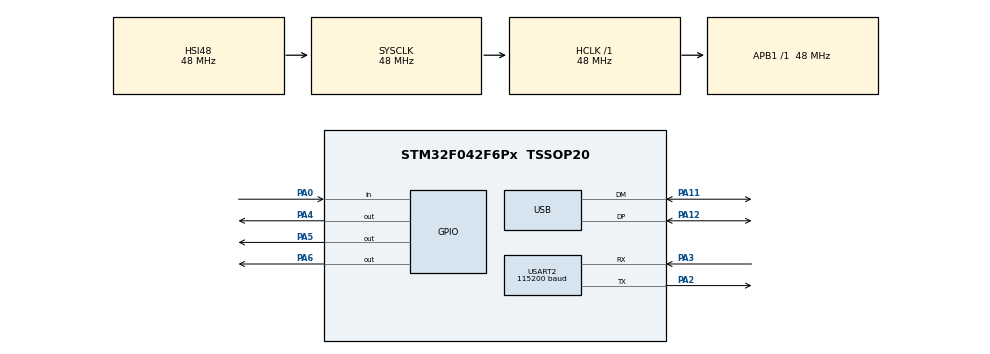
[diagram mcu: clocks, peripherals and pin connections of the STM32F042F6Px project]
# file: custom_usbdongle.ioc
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Dma.Request0=USART2_RX
Dma.USART2_RX.0.Direction=DMA_PERIPH_TO_MEMORY
Dma.USART2_RX.0.Instance=DMA1_Channel5
Dma.USART2_RX.0.MemDataAlignment=DMA_MDATAALIGN_BYTE
Dma.USART2_RX.0.MemInc=DMA_MINC_ENABLE
Dma.USART2_RX.0.Mode=DMA_CIRCULAR
Dma.USART2_RX.0.PeriphDataAlignment=DMA_PDATAALIGN_BYTE
Dma.USART2_RX.0.PeriphInc=DMA_PINC_DISABLE
Dma.USART2_RX.0.Priority=DMA_PRIORITY_LOW
Mcu.Family=STM32F0
Mcu.Name=STM32F042F6Px
Mcu.Package=TSSOP20
NVIC.DMA1_Channel4_5_IRQn=true\:0\:0\:false\:false\:true\:false\:true
NVIC.TIM14_IRQn=true\:0\:0\:false\:false\:true\:true\:true
NVIC.TIM16_IRQn=true\:0\:0\:false\:false\:true\:true\:true
NVIC.USB_IRQn=true\:0\:0\:false\:false\:true\:false\:true
PA0.Signal=GPIO_Input
PA11.Mode=Device
PA11.Signal=USB_DM
PA12.Mode=Device
PA12.Signal=USB_DP
PA2.Mode=Asynchronous
PA2.Signal=USART2_TX
PA3.Mode=Asynchronous
PA3.Signal=USART2_RX
PA4.Signal=GPIO_Output
PA5.Signal=GPIO_Output
PA6.Signal=GPIO_Output
PF0-OSC_IN.Mode=HSE-External-Oscillator
PF0-OSC_IN.Signal=RCC_OSC_IN
PF1-OSC_OUT.Mode=HSE-External-Oscillator
PF1-OSC_OUT.Signal=RCC_OSC_OUT
ProjectManager.HeapSize=0x400
ProjectManager.StackSize=0x800
ProjectManager.TargetToolchain=MDK-ARM V5
RCC.AHBFreq_Value=48000000
RCC.APB1Freq_Value=48000000
RCC.APB1TimFreq_Value=48000000
RCC.HCLKFreq_Value=48000000
RCC.SYSCLKFreq_VALUE=48000000
RCC.SYSCLKSource=RCC_SYSCLKSOURCE_HSI48
TIM14.AutoReloadPreload=TIM_AUTORELOAD_PRELOAD_ENABLE
TIM14.Period=9999
TIM14.Prescaler=47
TIM16.AutoReloadPreload=TIM_AUTORELOAD_PRELOAD_ENABLE
TIM16.Period=799
TIM16.Prescaler=4799
USART2.BaudRate=115200
USART2.VirtualMode-Asynchronous=VM_ASYNC
USB_DEVICE.CLASS_NAME_FS=CUSTOM_HID
USB_DEVICE.MANUFACTURER_STRING=WeiShiXunDa
USB_DEVICE.PRODUCT_STRING_CUSTOMHID_FS=VR_Receiver
USB_DEVICE.USBD_CUSTOMHID_OUTREPORT_BUF_SIZE=64
USB_DEVICE.USBD_CUSTOM_HID_REPORT_DESC_SIZE=34
USB_DEVICE.VirtualMode=CustomHid
USB_DEVICE.VirtualModeFS=Custom_Hid_FS
VP_IWDG_VS_IWDG.Mode=IWDG_Activate
VP_SYS_VS_PINREMAP.Mode=PINREMAP
VP_TIM14_VS_ClockSourceINT.Mode=Enable_Timer
VP_TIM16_VS_ClockSourceINT.Mode=Enable_Timer
VP_USB_DEVICE_VS_USB_DEVICE_CUSTOM_HID_FS.Mode=CUSTOM_HID_FS
board=custom

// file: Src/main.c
/* USER CODE BEGIN Header */
/**
  ******************************************************************************
  * @file           : main.c
  * @brief          : Main program body
  ******************************************************************************
  * @attention
  *
  * <h2><center>&copy; Copyright (c) 2019 STMicroelectronics.
  * All rights reserved.</center></h2>
  *
  * This software component is licensed by ST under BSD 3-Clause license,
  * the "License"; You may not use this file except in compliance with the
  * License. You may obtain a copy of the License at:
  *                        opensource.org/licenses/BSD-3-Clause
  *
  ******************************************************************************
  */
/* USER CODE END Header */

#include "main.h"
#include "usb_device.h"

/* USER CODE BEGIN Includes */
#include "usbd_customhid.h"
/* USER CODE END Includes */

/* USER CODE BEGIN PD */
#define Water_Address 0x00
#define Recoilless_Address 0x01
#define HumanSensor_Address 0x02
#define PneumaticExtinguisher_Address 0x03
#define Local_Address 0xfd
#define Multi_Address 0xfc

#define Command_Shutdown 0x0f
#define Command_GetData 0x00
#define Command_SetData 0x01
/* USER CODE END PD */

IWDG_HandleTypeDef hiwdg;

TIM_HandleTypeDef htim14;
TIM_HandleTypeDef htim16;

UART_HandleTypeDef huart2;
DMA_HandleTypeDef hdma_usart2_rx;

/* USER CODE BEGIN PV */
extern USBD_HandleTypeDef hUsbDeviceFS;
// USB repoter
//bat  button1 button2 encode hall
unsigned char Recoilless_Send[64] = {0};

unsigned char USB_Send[64] = {0};
unsigned char USB_Recv[64] = {0};
unsigned char UART_Send[256] = {0};
unsigned char UART_Recv[256] = {0};
unsigned char UART_Recv_u8;
int UART_Recvloc = 0;
unsigned char USB_Event = 0;

unsigned char Water_Flag = 0;
unsigned char Recoilless_Flag = 0;
unsigned char HumanSensor_Flag = 0;
unsigned char PneumaticExtinguisher_Flag = 0;
/* USER CODE END PV */

void SystemClock_Config(void);
static void MX_GPIO_Init(void);
static void MX_DMA_Init(void);
static void MX_USART2_UART_Init(void);
static void MX_TIM14_Init(void);
static void MX_TIM16_Init(void);
static void MX_IWDG_Init(void);

/* USER CODE BEGIN 0 */
uint32_t USB_GetData(uint8_t *data,uint32_t dataNum)
{
    uint32_t len=0;
    USBD_CUSTOM_HID_HandleTypeDef   *hhid;
  hhid = (USBD_CUSTOM_HID_HandleTypeDef*)hUsbDeviceFS.pClassData;//???????

    for(len=0;len<dataNum;len++){
        *data=hhid->Report_buf[len];
        data++;
    }
    return dataNum;
}

void RFNormalMode()
{
	HAL_GPIO_WritePin(GPIOA,GPIO_PIN_6,0);
	HAL_GPIO_WritePin(GPIOA,GPIO_PIN_5,0);
	HAL_GPIO_WritePin(GPIOA,GPIO_PIN_4,1);
}

void RFConfigMode()
{
	HAL_GPIO_WritePin(GPIOA,GPIO_PIN_6,1);
	HAL_GPIO_WritePin(GPIOA,GPIO_PIN_5,1);
	HAL_GPIO_WritePin(GPIOA,GPIO_PIN_4,1);
}

void RF_init()
{
	unsigned char data1[64] = {0xc0 ,0x00 ,0x03 ,0x2f ,0x1a ,0x04};
	//unsigned char data2[64] = {0xc1 ,0xc1 ,0xc1 ,0x2c ,0x18 ,0x84};
	while(HAL_GPIO_ReadPin(GPIOA,GPIO_PIN_0) != 1);
	RFConfigMode();
	while(HAL_GPIO_ReadPin(GPIOA,GPIO_PIN_0) != 1);
	UART_Recvloc = 0;
	HAL_Delay(50);
	HAL_UART_Transmit(&huart2,data1,6,1000);
	while(1);
}

void RF_Send(unsigned char *data,unsigned int len)
{
	while(HAL_GPIO_ReadPin(GPIOA,GPIO_PIN_0) != 1);
	HAL_UART_Transmit(&huart2,data,len,1000);
}
void SendContrlData(unsigned char dstaddr,unsigned char command,unsigned char *data)
{
	//head:0xff
	//dst_addr : [4]
	//src_addt : [5]
	//data.....
	//end: 0xfe
	unsigned char send[13] = {0xff,0,0,command,data[0],data[1],data[2],data[3],data[4],data[5],data[6],data[7],0xfe};

	send[1] = dstaddr;

	send[2] = Local_Address;
	RF_Send(send,13);
}

void RecvTick()
{
	static unsigned char flag = 0;
	static int location;
	unsigned char Recv_data[64];
	int Recv_data_len = 0;
	unsigned char i = 0;
	static unsigned char count = 0;
	while(1)
	{
		if(UART_Recv[count] == 0xff)
		{
			if(flag == 1)
			{
				UART_Recv[location] = 0;
			}

			location = count;
			flag = 1;
		}
		if(UART_Recv[count] == 0xfe)
		{
			UART_Recv[count] = 0;
			if(flag != 1)
			{
				continue;
			}
			UART_Recv[location] = 0;
			flag = 0;
			if(count < location)
				Recv_data_len = (count + 256) - location;
			else
				Recv_data_len = count - location;
			if(Recv_data_len >= 64)
				continue;
			for(int j = 0;j<Recv_data_len;j++)
				Recv_data[j] = UART_Recv[(unsigned char)(location + 1 + j)];
			break;
		}
		if(i==255)
			break;
		i++;
		count++;
	}
	if(Recv_data_len == 0)
		return;
	////////////////////////////////////////////////////////////////////////////////////////////////////////////////////

	if(Recv_data[0] != Local_Address)
		return;

	////////////////////////////////////////////////////////////////////////////////////////////////////////////////////
//	unsigned char check  = 0;

//	if(Recv_data[1] == Water_Address)
//		check = 1;
//	if(Recv_data[1] == Recoilless_Address)
//		check = 2;

	switch(Recv_data[1])
	{
		case Water_Address:
			Water_Flag = 1;
			USB_Send[0] = Recv_data[2];
			USB_Send[1] = Recv_data[3];
			USB_Send[2] = Recv_data[4];
			USB_Send[3] = Recv_data[5];
			USB_Send[4] = Recv_data[6];
			break;
		case Recoilless_Address:
			Recoilless_Flag = 1;
			USB_Send[5] = Recv_data[2];
			USB_Send[6] = Recv_data[3];
			break;
		case HumanSensor_Address:
			HumanSensor_Flag = 1;
			USB_Send[7] = Recv_data[2];
			USB_Send[8] = Recv_data[3];
			break;
		case PneumaticExtinguisher_Address:
			PneumaticExtinguisher_Flag = 1;
			USB_Send[0] = Recv_data[2];
			USB_Send[1] = Recv_data[3];
			USB_Send[2] = Recv_data[4];
			break;
	}
}

unsigned char Send_Tick_WaterCount80ms = 0;
unsigned char Send_Tick_RecoillessCount80ms = 0;
unsigned char Send_Tick_HumanSensorCount80ms = 0;
unsigned char Send_Tick_PneumaticExtinguisherCount80ms = 0;
unsigned char Send_Tick_RadioCount80ms = 0;
void SendTick()
{
	///////////////////////////////////////////////////////////////////////////
	if(PneumaticExtinguisher_Flag == 0)
	{
		if(Send_Tick_PneumaticExtinguisherCount80ms >= 12)
		{
			USB_Send[60] = 0;
		}
		else
		{
			Send_Tick_PneumaticExtinguisherCount80ms++;
		}
	}
	else
	{
		Send_Tick_PneumaticExtinguisherCount80ms = 0;
		USB_Send[60] = 1;
	}
	if(Water_Flag == 0)
	{

		if(Send_Tick_WaterCount80ms >= 12)
		{
			USB_Send[61] = 0;
		}
		else
		{
			Send_Tick_WaterCount80ms++;
		}
	}
	else
	{
		Send_Tick_WaterCount80ms = 0;
		USB_Send[61] = 1;
	}
	if(Recoilless_Flag == 0)
	{

		if(Send_Tick_RecoillessCount80ms >= 12)
		{
			USB_Send[62] = 0;
		}
		else
		{
			Send_Tick_RecoillessCount80ms++;
		}
	}
	else
	{
		Send_Tick_RecoillessCount80ms = 0;
		USB_Send[62] = 1;
	}

//	if(HumanSensor_Flag == 0)
//	{
//
//		if(Send_Tick_HumanSensorCount80ms >= 12)
//		{
//			USB_Send[63] = 0;
//		}
//		else
//		{
//			Send_Tick_HumanSensorCount80ms++;
//		}
//	}
//	else
//	{
//		Send_Tick_HumanSensorCount80ms = 0;
//		USB_Send[63] = 1;
//	}

	if(USB_Send[60] == 0)
	{

		if(USB_Send[61] == 0 || USB_Send[62] == 0)// || USB_Send[63] == 0)
		{
			Send_Tick_RadioCount80ms++;
			if(Send_Tick_RadioCount80ms >= 12)
			{
				SendContrlData(PneumaticExtinguisher_Address,Command_GetData,"80 20   ");
				SendContrlData(Water_Address,Command_GetData,"80 20   ");
				SendContrlData(Recoilless_Address,Command_GetData,"80 40   ");
				//SendContrlData(HumanSensor_Address,Command_GetData,"80 60   ");
			}
		}
		else
		{
			Send_Tick_RadioCount80ms = 0;
		}
		if(USB_Send[61] != 0 && USB_Send[62] != 0)
		{
			SendContrlData(Recoilless_Address,Command_SetData,Recoilless_Send);
		}
	}

	Water_Flag = 0;
	Recoilless_Flag = 0;
	HumanSensor_Flag = 0;
	///////////////////////////////////////////////////////////////////////////

}

/* USER CODE END 0 */

int main(void)
{

  /* MCU Configuration--------------------------------------------------------*/

  /* Reset of all peripherals, Initializes the Flash interface and the Systick. */
  HAL_Init();

  /* Configure the system clock */
  SystemClock_Config();

  /* Initialize all configured peripherals */
  MX_GPIO_Init();
	RFNormalMode();
	//RFConfigMode();
	HAL_Delay(200);
  MX_DMA_Init();
  MX_USART2_UART_Init();
  MX_USB_DEVICE_Init();
  MX_TIM14_Init();
  MX_TIM16_Init();
  MX_IWDG_Init();
  /* USER CODE BEGIN 2 */
	HAL_UART_Receive_DMA(&huart2, UART_Recv, 256);

	//HAL_Delay(200);
	HAL_TIM_Base_Start_IT(&htim14);
	HAL_TIM_Base_Start_IT(&htim16);

	//RF_init();
	//RFNormalMode();
  /* USER CODE END 2 */

  /* Infinite loop */
  /* USER CODE BEGIN WHILE */
	//USART2->CR1 = 0x0000010d;
	//	DMA1_Channel5->CCR = 0xaf;
  while (1)
  {
		if(USB_Event == 1)
		{
			unsigned char len = USB_GetData(USB_Recv,64);
			switch(USB_Recv[0])
			{
				case Recoilless_Address:
					Recoilless_Send[0] = USB_Recv[1];
					break;
				case HumanSensor_Address:
					SendContrlData(HumanSensor_Address,Command_Shutdown,"        ");
					break;
				case Water_Address:
					SendContrlData(Water_Address,Command_Shutdown,"        ");
					break;
			}

			//HAL_UART_Transmit(&huart2,USB_Recv,len,1000);
			//memcpy(USB_Send,USB_Recv,64);
			USB_Event = 0;
		}
		HAL_IWDG_Refresh(&hiwdg);
//		*(unsigned int*)&USB_Send[16] = USART1->CR1;
//		*(unsigned int*)&USB_Send[20] = USART1->CR3;
//		*(unsigned int*)&USB_Send[24] = USART1->BRR;
//		*(unsigned int*)&USB_Send[28] = USART1->ISR;
//
//
//		*(unsigned int*)&USB_Send[0] = DMA1_Channel5->CCR;
//		*(unsigned int*)&USB_Send[4] = DMA1_Channel5->CNDTR;
//		*(unsigned int*)&USB_Send[8] = DMA1_Channel5->CPAR;
//		*(unsigned int*)&USB_Send[12] = DMA1_Channel5->CMAR;

		RecvTick();
		//RF_Send(0x0001,0x18,"test1",5);
		//HAL_Delay(50);
    /* USER CODE END WHILE */

  }
}

void SystemClock_Config(void)
{
  RCC_OscInitTypeDef RCC_OscInitStruct = {0};
  RCC_ClkInitTypeDef RCC_ClkInitStruct = {0};
  RCC_PeriphCLKInitTypeDef PeriphClkInit = {0};

  /** Initializes the CPU, AHB and APB busses clocks
  */
  RCC_OscInitStruct.OscillatorType = RCC_OSCILLATORTYPE_HSI48|RCC_OSCILLATORTYPE_LSI;
  RCC_OscInitStruct.HSI48State = RCC_HSI48_ON;
  RCC_OscInitStruct.LSIState = RCC_LSI_ON;
  RCC_OscInitStruct.PLL.PLLState = RCC_PLL_NONE;
  if (HAL_RCC_OscConfig(&RCC_OscInitStruct) != HAL_OK)
  {
    Error_Handler();
  }
  /** Initializes the CPU, AHB and APB busses clocks
  */
  RCC_ClkInitStruct.ClockType = RCC_CLOCKTYPE_HCLK|RCC_CLOCKTYPE_SYSCLK
                              |RCC_CLOCKTYPE_PCLK1;
  RCC_ClkInitStruct.SYSCLKSource = RCC_SYSCLKSOURCE_HSI48;
  RCC_ClkInitStruct.AHBCLKDivider = RCC_SYSCLK_DIV1;
  RCC_ClkInitStruct.APB1CLKDivider = RCC_HCLK_DIV1;

  if (HAL_RCC_ClockConfig(&RCC_ClkInitStruct, FLASH_LATENCY_1) != HAL_OK)
  {
    Error_Handler();
  }
  PeriphClkInit.PeriphClockSelection = RCC_PERIPHCLK_USB;
  PeriphClkInit.UsbClockSelection = RCC_USBCLKSOURCE_HSI48;

  if (HAL_RCCEx_PeriphCLKConfig(&PeriphClkInit) != HAL_OK)
  {
    Error_Handler();
  }
}

static void MX_IWDG_Init(void)
{

  hiwdg.Instance = IWDG;
  hiwdg.Init.Prescaler = IWDG_PRESCALER_4;
  hiwdg.Init.Window = 4095;
  hiwdg.Init.Reload = 4095;
  if (HAL_IWDG_Init(&hiwdg) != HAL_OK)
  {
    Error_Handler();
  }

}

static void MX_TIM14_Init(void)
{

  htim14.Instance = TIM14;
  htim14.Init.Prescaler = 47;
  htim14.Init.CounterMode = TIM_COUNTERMODE_UP;
  htim14.Init.Period = 9999;
  htim14.Init.ClockDivision = TIM_CLOCKDIVISION_DIV1;
  htim14.Init.AutoReloadPreload = TIM_AUTORELOAD_PRELOAD_ENABLE;
  if (HAL_TIM_Base_Init(&htim14) != HAL_OK)
  {
    Error_Handler();
  }

}

static void MX_TIM16_Init(void)
{

  htim16.Instance = TIM16;
  htim16.Init.Prescaler = 4799;
  htim16.Init.CounterMode = TIM_COUNTERMODE_UP;
  htim16.Init.Period = 799;
  htim16.Init.ClockDivision = TIM_CLOCKDIVISION_DIV1;
  htim16.Init.RepetitionCounter = 0;
  htim16.Init.AutoReloadPreload = TIM_AUTORELOAD_PRELOAD_ENABLE;
  if (HAL_TIM_Base_Init(&htim16) != HAL_OK)
  {
    Error_Handler();
  }

}

static void MX_USART2_UART_Init(void)
{

  huart2.Instance = USART2;
  huart2.Init.BaudRate = 115200;
  huart2.Init.WordLength = UART_WORDLENGTH_8B;
  huart2.Init.StopBits = UART_STOPBITS_1;
  huart2.Init.Parity = UART_PARITY_NONE;
  huart2.Init.Mode = UART_MODE_TX_RX;
  huart2.Init.HwFlowCtl = UART_HWCONTROL_NONE;
  huart2.Init.OverSampling = UART_OVERSAMPLING_16;
  huart2.Init.OneBitSampling = UART_ONE_BIT_SAMPLE_DISABLE;
  huart2.AdvancedInit.AdvFeatureInit = UART_ADVFEATURE_NO_INIT;
  if (HAL_UART_Init(&huart2) != HAL_OK)
  {
    Error_Handler();
  }

}

static void MX_DMA_Init(void)
{
  /* DMA controller clock enable */
  __HAL_RCC_DMA1_CLK_ENABLE();

  /* DMA interrupt init */
  /* DMA1_Channel4_5_IRQn interrupt configuration */
  HAL_NVIC_SetPriority(DMA1_Channel4_5_IRQn, 0, 0);
  HAL_NVIC_EnableIRQ(DMA1_Channel4_5_IRQn);

}

static void MX_GPIO_Init(void)
{
  GPIO_InitTypeDef GPIO_InitStruct = {0};

  /* GPIO Ports Clock Enable */
  __HAL_RCC_GPIOF_CLK_ENABLE();
  __HAL_RCC_GPIOA_CLK_ENABLE();

  /*Configure GPIO pin Output Level */
  HAL_GPIO_WritePin(GPIOA, GPIO_PIN_4|GPIO_PIN_5|GPIO_PIN_6, GPIO_PIN_RESET);

  /*Configure GPIO pin : PA0 */
  GPIO_InitStruct.Pin = GPIO_PIN_0;
  GPIO_InitStruct.Mode = GPIO_MODE_INPUT;
  GPIO_InitStruct.Pull = GPIO_NOPULL;
  HAL_GPIO_Init(GPIOA, &GPIO_InitStruct);

  /*Configure GPIO pins : PA4 PA5 PA6 */
  GPIO_InitStruct.Pin = GPIO_PIN_4|GPIO_PIN_5|GPIO_PIN_6;
  GPIO_InitStruct.Mode = GPIO_MODE_OUTPUT_PP;
  GPIO_InitStruct.Pull = GPIO_NOPULL;
  GPIO_InitStruct.Speed = GPIO_SPEED_FREQ_LOW;
  HAL_GPIO_Init(GPIOA, &GPIO_InitStruct);

}

void Error_Handler(void)
{
}

/************************ (C) COPYRIGHT STMicroelectronics *****END OF FILE****/
